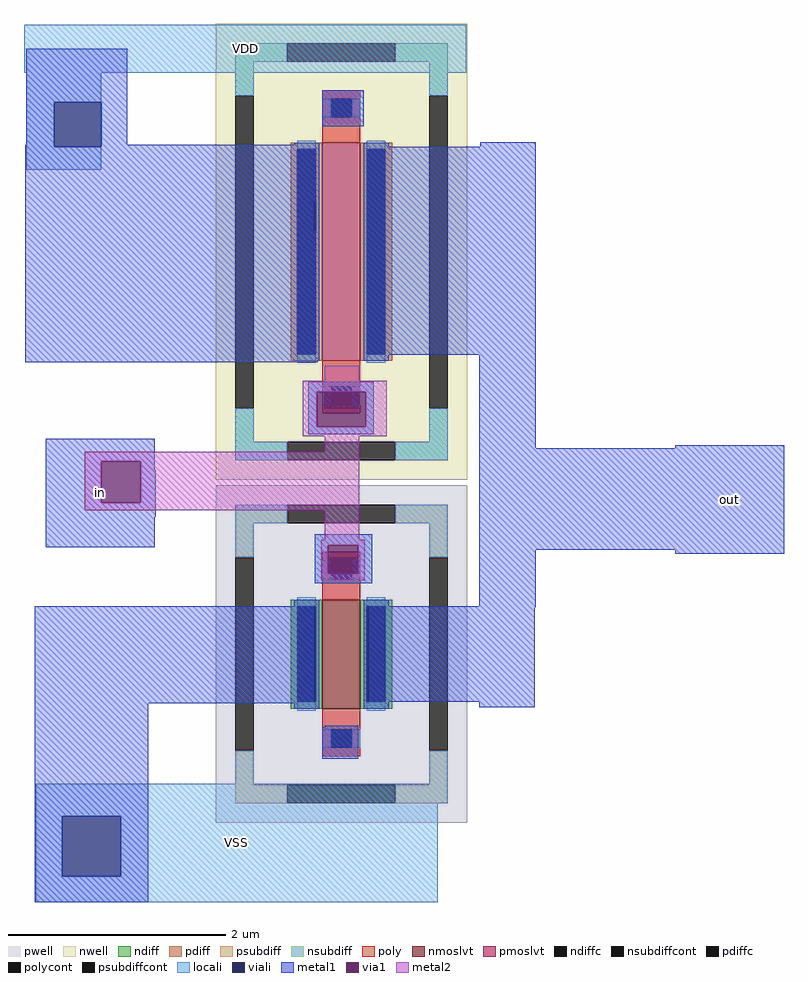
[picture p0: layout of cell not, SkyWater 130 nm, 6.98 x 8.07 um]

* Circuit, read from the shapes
.subckt not out in VDD VSS
XM1 out in VSS VSS sky130_fd_pr__nfet_01v8_lvt w=1 l=0.35
XM2 out in VDD VDD sky130_fd_pr__pfet_01v8_lvt w=2 l=0.35
.ends

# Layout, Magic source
magic
tech sky130A
magscale 1 2
<< locali >>
rect 472 946 1284 1034
rect 476 892 614 946
rect 476 810 528 892
rect 476 768 614 810
rect 494 -420 1232 -360
rect 494 -530 542 -420
rect 650 -530 1232 -420
rect 494 -578 1232 -530
<< viali >>
rect 528 810 614 892
rect 542 -530 650 -420
<< metal1 >>
rect 476 892 662 990
rect 476 814 528 892
rect 474 810 528 814
rect 614 814 662 892
rect 1020 848 1096 914
rect 614 810 1012 814
rect 1310 810 1412 818
rect 474 708 1012 810
rect 474 706 996 708
rect 474 656 1004 706
rect 474 414 1012 656
rect 1100 428 1412 810
rect 994 360 1114 378
rect 994 296 1010 360
rect 1100 296 1114 360
rect 994 282 1114 296
rect 512 232 712 274
rect 512 156 614 232
rect 686 216 712 232
rect 1308 256 1412 428
rect 1668 256 1868 262
rect 686 156 714 216
rect 512 130 714 156
rect 512 74 712 130
rect 1006 78 1112 98
rect 1006 26 1030 78
rect 1086 26 1112 78
rect 1006 8 1112 26
rect 1308 70 1868 256
rect 1308 -34 1412 70
rect 1668 62 1868 70
rect 492 -212 1004 -34
rect 1106 -36 1412 -34
rect 1106 -210 1410 -36
rect 492 -420 700 -212
rect 1308 -220 1410 -210
rect 1020 -314 1086 -256
rect 492 -530 542 -420
rect 650 -530 700 -420
rect 492 -578 700 -530
<< via1 >>
rect 1010 296 1100 360
rect 614 156 686 232
rect 1030 26 1086 78
<< metal2 >>
rect 1024 380 1088 408
rect 984 360 1138 380
rect 984 296 1010 360
rect 1100 296 1138 360
rect 984 278 1138 296
rect 1024 250 1088 278
rect 584 232 1088 250
rect 584 156 614 232
rect 686 156 1088 232
rect 584 142 1088 156
rect 1024 88 1088 142
rect 1018 78 1098 88
rect 1018 26 1030 78
rect 1086 26 1098 78
rect 1018 14 1098 26
use sky130_fd_pr__nfet_01v8_lvt_6LX62X  XM1
transform 1 0 1055 0 1 -122
box -231 -310 231 310
use sky130_fd_pr__pfet_01v8_lvt_4QFWD3  XM10
transform 1 0 1055 0 1 617
box -231 -419 231 419
<< labels >>
flabel metal1 512 74 712 274 0 FreeSans 256 0 0 0 in
port 1 nsew
flabel metal1 1668 62 1868 262 0 FreeSans 256 0 0 0 out
port 0 nsew
rlabel locali 472 946 1284 1034 1 VDD
port 4 nsew
rlabel locali 494 -578 1232 -360 1 VSS
port 5 nsew
<< end >>

# cell sky130_fd_pr__nfet_01v8_lvt_6LX62X: kit device sky130_fd_pr__nfet_01v8_lvt, w 1.0 l 0.35 m 1 nf 1 diffcov 100 polycov 100 guard 1 glc 1 grc 1 gtc 1 gbc 1 tbcov 100 rlcov 100 topc 1 botc 1 poverlap 0 doverlap 1 lmin 0.15 wmin 0.42 compatible {sky130_fd_pr__nfet_01v8 sky130_fd_pr__nfet_01v8_lvt sky130_fd_bs_flash__special_sonosfet_star sky130_fd_pr__nfet_g5v0d10v5 sky130_fd_pr__nfet_05v0_nvt sky130_fd_pr__nfet_03v3_nvt} full_metal 1 viasrc 100 viadrn 100 viagate 100 viagb 0 viagr 0 viagl 0 viagt 0

# cell sky130_fd_pr__pfet_01v8_lvt_4QFWD3: kit device sky130_fd_pr__pfet_01v8_lvt, w 2.0 l 0.35 m 1 nf 1 diffcov 100 polycov 100 guard 1 glc 1 grc 1 gtc 1 gbc 1 tbcov 100 rlcov 100 topc 1 botc 1 poverlap 0 doverlap 1 lmin 0.35 wmin 0.42 compatible {sky130_fd_pr__pfet_01v8 sky130_fd_pr__pfet_01v8_lvt sky130_fd_pr__pfet_01v8_hvt sky130_fd_pr__pfet_g5v0d10v5} full_metal 1 viasrc 100 viadrn 100 viagate 100 viagb 0 viagr 0 viagl 0 viagt 0
